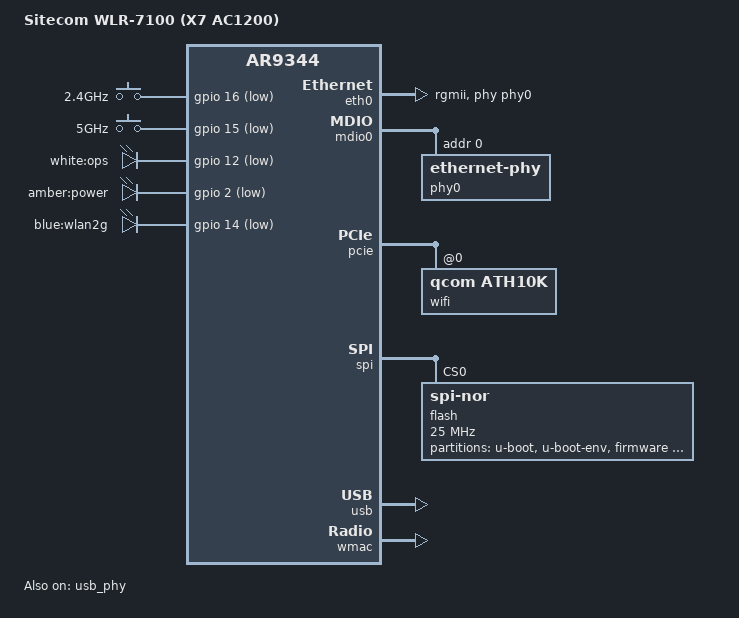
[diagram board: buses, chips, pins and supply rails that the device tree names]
// SPDX-License-Identifier: GPL-2.0-or-later OR MIT

#include "ar9344.dtsi"

#include <dt-bindings/gpio/gpio.h>
#include <dt-bindings/input/input.h>

/ {
	model = "Sitecom WLR-7100 (X7 AC1200)";
	compatible = "sitecom,wlr-7100", "qca,ar9344";

	aliases {
		led-boot = &led_power;
		led-failsafe = &led_power;
		led-running = &led_power;
		led-upgrade = &led_power;
	};

	keys {
		compatible = "gpio-keys";

		wlan2g {
			label = "2.4GHz";
			gpios = <&gpio 16 GPIO_ACTIVE_LOW>;
			linux,code = <KEY_RESTART>;
		};

		wlan5g {
			label = "5GHz";
			gpios = <&gpio 15 GPIO_ACTIVE_LOW>;
			linux,code = <KEY_WPS_BUTTON>;
		};
	};

	leds {
		compatible = "gpio-leds";

		ops {
			label = "white:ops";
			gpios = <&gpio 12 GPIO_ACTIVE_LOW>;
		};

		led_power: power {
			label = "amber:power";
			gpios = <&gpio 2 GPIO_ACTIVE_LOW>;
			default-state = "on";
		};

		wlan2g {
			label = "blue:wlan2g";
			gpios = <&gpio 14 GPIO_ACTIVE_LOW>;
			linux,default-trigger = "phy1tpt";
		};
	};
};

&eth0 {
	status = "okay";

	pll-data = <0x06000000 0x00000101 0x00001616>;

	phy-mode = "rgmii";
	phy-handle = <&phy0>;

	gmac-config {
		device = <&gmac>;
		rgmii-gmac0 = <1>;
	};
};

&mdio0 {
	status = "okay";

	phy0: ethernet-phy@0 {
		reg = <0>;
		phy-mode = "rgmii";

		qca,ar8327-initvals = <
			0x04 0x87a00000 /* PORT0 PAD Mode */
			0x0c 0x01000000 /* PORT6 PAD Mode */
			0x10 0x80000000 /* PWS_REG_VALUE */
			0x7c 0x000000fe /* PORT0_STATUS */
			0x94 0x000000fe /* PORT6_STATUS */
		>;
	};
};

&pcie {
	status = "okay";

	wifi@0,0 {
		compatible = "qcom,ath10k";
		reg = <0x0000 0 0 0 0>;
	};
};

&ref {
	clock-frequency = <25000000>;
};

&spi {
	status = "okay";

	flash@0 {
		compatible = "jedec,spi-nor";
		reg = <0>;
		spi-max-frequency = <25000000>;

		partitions {
			compatible = "fixed-partitions";
			#address-cells = <1>;
			#size-cells = <1>;

			partition@0 {
				label = "u-boot";
				reg = <0x000000 0x030000>;
				read-only;
			};

			uenv: partition@30000 {
				label = "u-boot-env";
				reg = <0x030000 0x010000>;
				read-only;
			};

			partition@40000 {
				compatible = "denx,uimage";
				label = "firmware";
				reg = <0x040000 0x750000>;
			};

			partition@790000 {
				label = "backup";
				reg = <0x790000 0x010000>;
				read-only;
			};

			partition@7a0000 {
				label = "storage";
				reg = <0x7a0000 0x050000>;
				read-only;
			};

			art: partition@7f0000 {
				label = "art";
				reg = <0x7f0000 0x010000>;
				read-only;
			};
		};
	};
};

&usb {
	status = "okay";
};

&usb_phy {
	status = "okay";
};

&wmac {
	status = "okay";

	qca,no-eeprom;
};
